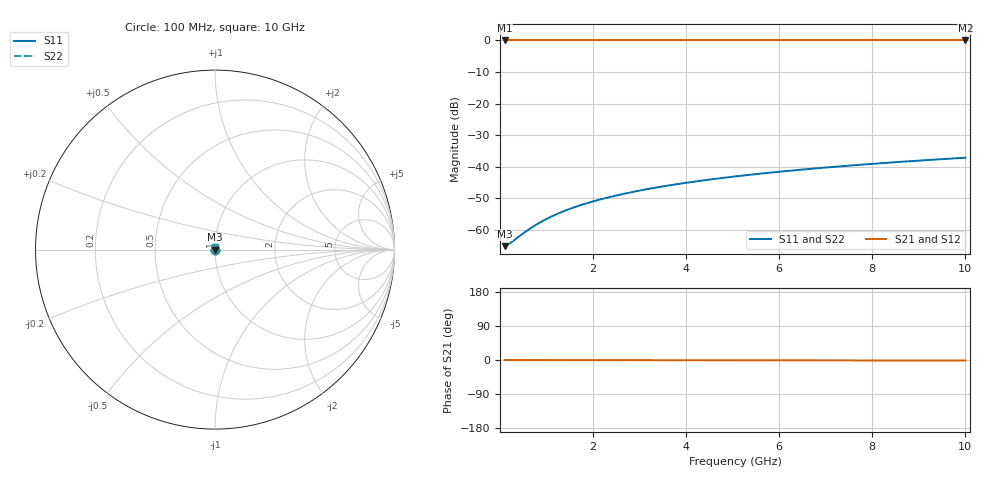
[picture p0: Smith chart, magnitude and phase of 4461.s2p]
# Hz S RI R 50.00
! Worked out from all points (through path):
!   100 points, 100 MHz to 10 GHz, reference 50 ohm
!   highest |S21| = 0.00 dB at 100 MHz (marker M1); lowest = 0.0 dB at 10 GHz (marker M2)
!   lowest |S11| = -65.2 dB at 100 MHz (marker M3), VSWR 1.00, Z = 50.1 + j0.0138 ohm
!   |S11| at or under -10 dB: start of sweep to end of sweep
!   |S22| runs from -65.2 to -37.2 dB; largest |S21 - S12| = 0
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1e8  0.000534 0.000138  0.9995 -0.000242  0.9995 -0.000242  0.000534 0.000138
2e8  0.000538 0.000276  0.9995 -0.000484  0.9995 -0.000484  0.000538 0.000276
3e8  0.00054 0.000415  0.9995 -0.000726  0.9995 -0.000726  0.00054 0.000415
5e8  0.000545 0.000691  0.9995 -0.00121  0.9995 -0.00121  0.000545 0.000691
7e8  0.000549 0.000967  0.9994 -0.0017  0.9994 -0.0017  0.000549 0.000967
9e8  0.000552 0.00124  0.9994 -0.00218  0.9994 -0.00218  0.000552 0.00124
1.1e9  0.000556 0.00152  0.9994 -0.00266  0.9994 -0.00266  0.000556 0.00152
1.3e9  0.000559 0.0018  0.9994 -0.00315  0.9994 -0.00315  0.000559 0.0018
1.5e9  0.000563 0.00207  0.9994 -0.00363  0.9994 -0.00363  0.000563 0.00207
1.8e9  0.000568 0.00249  0.9994 -0.00436  0.9994 -0.00436  0.000568 0.00249
2.1e9  0.000574 0.0029  0.9994 -0.00509  0.9994 -0.00509  0.000574 0.0029
2.5e9  0.000583 0.00346  0.9994 -0.00606  0.9994 -0.00606  0.000583 0.00346
2.9e9  0.000593 0.00401  0.9994 -0.00703  0.9994 -0.00703  0.000593 0.00401
3.4e9  0.000606 0.0047  0.9994 -0.00824  0.9994 -0.00824  0.000606 0.0047
3.8e9  0.000618 0.00525  0.9994 -0.00921  0.9994 -0.00921  0.000618 0.00525
4.2e9  0.00063 0.00581  0.9994 -0.0102  0.9994 -0.0102  0.00063 0.00581
5.1e9  0.000663 0.00705  0.9993 -0.0124  0.9993 -0.0124  0.000663 0.00705
5.9e9  0.000696 0.00816  0.9993 -0.0143  0.9993 -0.0143  0.000696 0.00816
6.7e9  0.000733 0.00927  0.9992 -0.0162  0.9992 -0.0162  0.000733 0.00927
7.5e9  0.000775 0.0104  0.9992 -0.0182  0.9992 -0.0182  0.000775 0.0104
8.4e9  0.000827 0.0116  0.9991 -0.0204  0.9991 -0.0204  0.000827 0.0116
1e10  0.000933 0.0138  0.999 -0.0243  0.999 -0.0243  0.000933 0.0138
